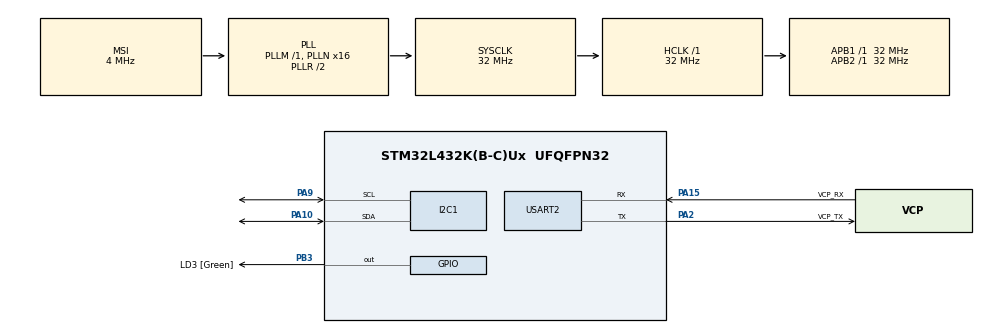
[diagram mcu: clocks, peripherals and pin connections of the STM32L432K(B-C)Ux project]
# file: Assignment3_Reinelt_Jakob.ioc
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FREERTOS.Tasks01=defaultTask,24,128,StartDefaultTask,Default,NULL,Dynamic,NULL,NULL
FREERTOS.configTOTAL_HEAP_SIZE=10000
FREERTOS.configUSE_NEWLIB_REENTRANT=1
I2C1.Timing=0x00B07CB4
Mcu.Family=STM32L4
Mcu.Name=STM32L432K(B-C)Ux
Mcu.Package=UFQFPN32
NVIC.PriorityGroup=NVIC_PRIORITYGROUP_4
NVIC.TIM6_DAC_IRQn=true\:15\:0\:false\:false\:true\:false\:false\:true\:true
NVIC.TimeBase=TIM6_DAC_IRQn
NVIC.TimeBaseIP=TIM6
PA0.GPIO_Label=MCO [High speed clock in]
PA0.Mode=HSE-External-Clock-Source-for-LittleOrca
PA0.Signal=RCC_CK_IN
PA10.Mode=I2C
PA10.Signal=I2C1_SDA
PA13\ (JTMS-SWDIO).GPIO_Label=SWDIO
PA13\ (JTMS-SWDIO).Mode=Serial_Wire
PA13\ (JTMS-SWDIO).Signal=SYS_JTMS-SWDIO
PA14\ (JTCK-SWCLK).GPIO_Label=SWCLK
PA14\ (JTCK-SWCLK).Mode=Serial_Wire
PA14\ (JTCK-SWCLK).Signal=SYS_JTCK-SWCLK
PA15\ (JTDI).GPIO_Label=VCP_RX
PA15\ (JTDI).Mode=Asynchronous
PA15\ (JTDI).Signal=USART2_RX
PA2.GPIO_Label=VCP_TX
PA2.Mode=Asynchronous
PA2.Signal=USART2_TX
PA9.Mode=I2C
PA9.Signal=I2C1_SCL
PB3\ (JTDO-TRACESWO).GPIO_Label=LD3 [Green]
PB3\ (JTDO-TRACESWO).Signal=GPIO_Output
PC14-OSC32_IN\ (PC14).Mode=LSE-External-Oscillator
PC14-OSC32_IN\ (PC14).Signal=RCC_OSC32_IN
PC15-OSC32_OUT\ (PC15).Mode=LSE-External-Oscillator
PC15-OSC32_OUT\ (PC15).Signal=RCC_OSC32_OUT
ProjectManager.HeapSize=0x200
ProjectManager.StackSize=0x400
ProjectManager.TargetToolchain=STM32CubeIDE
RCC.AHBFreq_Value=32000000
RCC.APB1Freq_Value=32000000
RCC.APB1TimFreq_Value=32000000
RCC.APB2Freq_Value=32000000
RCC.APB2TimFreq_Value=32000000
RCC.CortexFreq_Value=32000000
RCC.HCLKFreq_Value=32000000
RCC.HSE_VALUE=8000000
RCC.HSI16_VALUE=16000000
RCC.HSI48_VALUE=48000000
RCC.HSI_VALUE=16000000
RCC.MSI_VALUE=4000000
RCC.PLLMUL=RCC_PLLMUL_4
RCC.PLLN=16
RCC.SYSCLKFreq_VALUE=32000000
RCC.SYSCLKSource=RCC_SYSCLKSOURCE_PLLCLK
RCC.VCOOutputFreq_Value=64000000
USART2.VirtualMode-Asynchronous=VM_ASYNC
VP_FREERTOS_VS_CMSIS_V2.Mode=CMSIS_V2
VP_SYS_VS_tim6.Mode=TIM6
board=NUCLEO-L432KC

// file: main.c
/* USER CODE BEGIN Header */
/**
  ******************************************************************************
  * @file           : main.c
  * @brief          : Main program body
  ******************************************************************************
  * @attention
  *
  * Copyright (c) 2025 STMicroelectronics.
  * All rights reserved.
  *
  * This software is licensed under terms that can be found in the LICENSE file
  * in the root directory of this software component.
  * If no LICENSE file comes with this software, it is provided AS-IS.
  *
  ******************************************************************************
  */
/* USER CODE END Header */
#include "main.h"
#include "cmsis_os.h"

/* USER CODE BEGIN Includes */
#include "TMP117_STM32_HAL_lib.h"
/* USER CODE END Includes */

/* USER CODE BEGIN PTD */
typedef struct {
    int16_t temp_integer;
    int16_t temp_fraction;
} SensorData_t;

typedef struct {
    int16_t temp_integer;
    int16_t temp_fraction;
    uint8_t valid;  // 1 = gültig, 0 = ungültig
} ValidatedSensorData_t;
/* USER CODE END PTD */

/* USER CODE BEGIN PD */
/** @brief Default I²C address of the TMP117 sensor */
#define TMP117_DEFAULT_ADD 0x48

/** @brief Register address for the temperature register */
#define TMP117_REG_ADD 0x00
/* USER CODE END PD */

I2C_HandleTypeDef hi2c1;

UART_HandleTypeDef huart2;

/* Definitions for defaultTask */
osThreadId_t defaultTaskHandle;
const osThreadAttr_t defaultTask_attributes = {
  .name = "defaultTask",
  .stack_size = 128 * 4,
  .priority = (osPriority_t) osPriorityNormal,
};
/* USER CODE BEGIN PV */
static SensorData_t last_valid_temp = {0, 0};

/* Definitions for uartInputTask */
osThreadId_t uartInputTaskHandle;
const osThreadAttr_t uartInputTask_attributes = {
  .name = "uartInputTask",
  .stack_size = 256 * 4,
  .priority = (osPriority_t) osPriorityBelowNormal,
};

/* Definitions for controllerTask */
osThreadId_t controllerTaskHandle;
const osThreadAttr_t controllerTask_attributes = {
  .name = "controllerTask",
  .stack_size = 256 * 4,
  .priority = (osPriority_t) osPriorityNormal,
};

/* Definitions for measurementTask */
osThreadId_t measurementTaskHandle;
const osThreadAttr_t measurementTask_attributes = {
  .name = "measurementTask",
  .stack_size = 256 * 4,
  .priority = (osPriority_t) osPriorityBelowNormal,
};

/* Definitions for uartOutputTask */
osThreadId_t uartOutputTaskHandle;
const osThreadAttr_t uartOutputTask_attributes = {
  .name = "uartOutputTask",
  .stack_size = 256 * 4,
  .priority = (osPriority_t) osPriorityLow,
};

/* Definitions for watchdog_timer */
osTimerId_t watchdog_timerHandle;
const osTimerAttr_t watchdog_timer_attributes = {
		.name = "watchdog_timer"
};

/* Definitions for measurement_timer */
osTimerId_t measurement_timerHandle;
const osTimerAttr_t measurement_timer_attributes = {
		.name = "measurement_timer"
};

/* Definitions for meas_sem */
osSemaphoreId_t meas_semHandle;
const osSemaphoreAttr_t meas_sem_attributes = {
		.name = "meas_sem"
};

/* Definitions for dataQueue */
osMessageQueueId_t dataQueueHandle;
const osMessageQueueAttr_t dataQueue_attributes = {
		.name = "dataQueue"
};

/* Definitions for dataQueueOutput */
osMessageQueueId_t dataQueueOutputHandle;
const osMessageQueueAttr_t dataQueueOutput_attributes = {
  .name = "dataQueueOutput"
};

/* Definitions for intervalQueue */
osMessageQueueId_t intervalQueueHandle;
const osMessageQueueAttr_t intervalQueue_attributes = {
  .name = "intervalQueue"
};

osMessageQueueId_t sensorOutputQueueHandle;
const osMessageQueueAttr_t sensorOutputQueue_attributes = {
    .name = "sensorOutputQueue"
};
/* USER CODE END PV */

void SystemClock_Config(void);
static void MX_GPIO_Init(void);
static void MX_USART2_UART_Init(void);
static void MX_I2C1_Init(void);
void StartDefaultTask(void *argument);

/* USER CODE BEGIN 0 */
/* Print given character on UART 2. Translate '\n' to "\r\n" on the fly. */
/*int __io_putchar(int ch) {
	int ret;
	while((ret=HAL_UART_GetState(&huart2)) != HAL_UART_STATE_READY)
		;
	if (ch == '\n') {
		static uint8_t buf[2] = {'\r', '\n'};
		HAL_UART_Transmit_IT(&huart2, buf, sizeof(buf));
	} else {
		static char buf;
		buf = ch;
		HAL_UART_Transmit_IT(&huart2, (uint8_t *)&buf, 1);
	}
	return ch;
}*/
int __io_putchar(int ch) {
    if (ch == '\n') {
        uint8_t buf[2] = {'\r', '\n'};
        HAL_UART_Transmit(&huart2, buf, 2, HAL_MAX_DELAY);
    } else {
        uint8_t buf = ch;
        HAL_UART_Transmit(&huart2, &buf, 1, HAL_MAX_DELAY);
    }
    return ch;
}

int _write(int file, char *ptr, int len)
{
	for (int DataIdx = 0; DataIdx < len; DataIdx++) {
		__io_putchar(*ptr++);
	}
	return len;
}

void Controller_Task(void *argument)
{
    SensorData_t current_temp;
    ValidatedSensorData_t validated;
    int32_t delta;
    uint32_t flags;
    uint8_t new_interval;

    for (;;)
    {
        // Prüfe, ob ein neues Intervall vom Input Task kam
        if (osMessageQueueGet(intervalQueueHandle, &new_interval, NULL, 0) == osOK)
        {
            osTimerStop(measurement_timerHandle);
            osTimerStart(measurement_timerHandle, new_interval * 1000);

            osTimerStop(watchdog_timerHandle);
            osTimerStart(watchdog_timerHandle, (new_interval + 2) * 1000);

            printf("Controller: Neues Intervall übernommen: %d Sekunden\r\n", new_interval);
        }

        printf("Start wait\r\n");
        flags = osThreadFlagsWait(0x01, osFlagsWaitAny, osWaitForever);
        printf("Stop wait\r\n");

        if (flags & 0x01)
        {
            osSemaphoreRelease(meas_semHandle);

            if (osMessageQueueGet(dataQueueHandle, &current_temp, NULL, 1000) == osOK)
            {
                // Temperaturdifferenz prüfen
                delta = ((current_temp.temp_integer * 100 + current_temp.temp_fraction) -
                         (last_valid_temp.temp_integer * 100 + last_valid_temp.temp_fraction));

                if (delta < 0) delta = -delta;

                validated.temp_integer = current_temp.temp_integer;
                validated.temp_fraction = current_temp.temp_fraction;
                validated.valid = (delta <= 1000) ? 1 : 0;

                if (validated.valid)
                {
                    last_valid_temp = current_temp;
                    osTimerStart(watchdog_timerHandle, (new_interval + 2) * 1000);
                    printf("Controller: Gültige Messung – sende an Output\r\n");
                }
                else
                {
                    printf("Controller: Ungültige Messung (>10°C) – sende trotzdem\r\n");
                }

                // Validiertes Ergebnis an Output Queue senden
                osMessageQueuePut(sensorOutputQueueHandle, &validated, 0, 0);
            }
            else
            {
                printf("Controller: Fehler – keine Messdaten erhalten\r\n");
            }
        }
    }
}
/*void Controller_Task(void *argument)
{
	SensorData_t current_temp;
	    int32_t delta; // Temperaturdifferenz *100 skaliert
	    uint32_t flags;
	    uint8_t new_interval;

	    for (;;)
	    {
	        // Prüfen, ob ein neuer Intervall vom UART Input Task vorliegt
	        if (osMessageQueueGet(intervalQueueHandle, &new_interval, NULL, 0) == osOK)
	        {
	            // Timer mit neuem Intervall setzen
	            osTimerStop(measurement_timerHandle);
	            osTimerStart(measurement_timerHandle, new_interval * 1000);

	            osTimerStop(watchdog_timerHandle);
	            osTimerStart(watchdog_timerHandle, (new_interval + 2) * 1000);

	            printf("Controller: Neues Intervall übernommen: %d Sekunden\r\n", new_interval);
	        }
	        printf("Start wait\r\n");
	        // Auf Timer-Flag vom Measurement Timer warten
	        flags = osThreadFlagsWait(0x01, osFlagsWaitAny, osWaitForever);
	        printf("Stop wait\r\n");
	        if (flags & 0x01)
	        {
	            // Messe starten (Mess-Task wird durch Semaphore getriggert)
	            osSemaphoreRelease(meas_semHandle);

	            // Auf neue Messdaten von Measurement_Task warten
	            if (osMessageQueueGet(dataQueueHandle, &current_temp, NULL, 1000) == osOK)
	            {
	                // Temperaturdifferenz berechnen
	                delta = ((current_temp.temp_integer * 100 + current_temp.temp_fraction) -
	                         (last_valid_temp.temp_integer * 100 + last_valid_temp.temp_fraction));

	                if (delta < 0) delta = -delta;
	                delta = 500;
	                if (delta <= 1000) // Differenz <= 10.00 °C
	                {
	                	printf("Output freigeben\r\n");
	                    // Gültige Messung: letzte Temperatur aktualisieren
	                    last_valid_temp = current_temp;

	                    // Watchdog zurücksetzen
	                    osTimerStart(watchdog_timerHandle, (new_interval + 2) * 1000);
	                    printf("Controller: Gültige Messung – Output freigeben\r\n");
	                    // Output freigeben – z. B. mit Flag 0x02
	                    osThreadFlagsSet(uartOutputTaskHandle, 0x02);
	                }
	                else
	                {
	                    printf("Ungültige Messung: Temperaturänderung zu groß (>10°C)\r\n");
	                }
	            }
	            else
	            {
	                printf("Fehler: Keine Messdaten empfangen\r\n");
	            }
	        }
	    }
}*/
void UART_Input_Task(void *argument)
{
	char input_buffer[10];
	    uint8_t ch;
	    uint8_t idx = 0;
	    int user_interval = 0;

	    printf("Usage: Geben Sie das Messintervall in Sekunden ein (1–10)\r\n");

	    for (;;)
	    {
	        idx = 0;
	        memset(input_buffer, 0, sizeof(input_buffer));
	        printf("Intervall (1-10): ");

	        // Zeichenweise lesen, bis \r (Enter)
	        while (1)
	        {
	            HAL_UART_Receive(&huart2, &ch, 1, HAL_MAX_DELAY); // blockiert Task
	            HAL_UART_Transmit(&huart2, &ch, 1, HAL_MAX_DELAY); // Echo

	            if (ch == '\r' || ch == '\n') break;

	            if (idx < sizeof(input_buffer) - 1)
	                input_buffer[idx++] = ch;
	        }

	        user_interval = atoi((char *)input_buffer);

	        if (user_interval >= 1 && user_interval <= 10)
	        {
	        	uint8_t interval = (uint8_t)user_interval;
	        	if (osMessageQueuePut(intervalQueueHandle, &interval, 0, 0) == osOK) {
	        	    printf("\r\nIntervall erfolgreich gesendet: %d Sekunden\r\n", interval);
	        	} else {
	        	    printf("\r\nFehler: Intervall konnte nicht gesendet werden.\r\n");
	        	}
	        }
	        else
	        {
	            printf("\r\nFehler: Ungültiger Wert. Bitte geben Sie eine Zahl von 1 bis 10 ein.\r\n");
	        }

	        osDelay(100); // kleine Entlastung
	    }
}
void UART_Output_Task(void *argument)
{
	SensorData_t output_temp;
	    uint32_t flags;
	    ValidatedSensorData_t msg;

	    for (;;)
	    {
	        if (osMessageQueueGet(sensorOutputQueueHandle, &msg, NULL, osWaitForever) == osOK)
	        {
	            if (msg.valid)
	            {
	                printf("Temperatur: %d.%02d °C\r\n", msg.temp_integer, msg.temp_fraction);
	            }
	            else
	            {
	                printf("Info: Ungültige Messung (Differenz > 10°C)\r\n");
	            }
	        }
	    }

	    /*for (;;)
	    {
	    	printf("UART Output Task: Warte auf Queue-Daten\r\n");
	        // Warten auf Daten in der Queue (z. B. max 1 Sekunde warten)
	        if (osMessageQueueGet(dataQueueOutputHandle, &output_temp, NULL, osWaitForever) == osOK)
	        {
	            // Jetzt auf Bestätigungs-Flag vom Controller Task warten
	            flags = osThreadFlagsWait(0x02, osFlagsWaitAny, 1000); // Timeout optional

	            if (flags & 0x02)
	            {
	                // Alles bereit: Temperatur ausgeben
	                printf("Temperatur: %d.%02d °C\r\n",
	                       output_temp.temp_integer,
	                       output_temp.temp_fraction);
	            }
	            else
	            {
	                // Kein gültiges Flag empfangen – ignoriere Messung
	                printf("Info: Messwert ohne Freigabe erhalten – verworfen.\r\n");
	            }
	        }
	    }*/
}
void Measurement_Task(void *argument)
{
    uint8_t raw_temp[2];
    int16_t temp_int = 0, temp_frac = 0;
    SensorData_t measurement;

    for (;;)
    {
    	printf("Measurement Task: Warte auf Semaphore...\r\n");
        // Warte auf das Startsignal vom Controller Task
        osSemaphoreAcquire(meas_semHandle, osWaitForever);
        printf("Measurement Task: Semaphore erhalten – lese Sensor\r\n");

        // Temperatur vom Sensor auslesen
        if (TMP117_read_raw_temp_value(hi2c1, TMP117_DEFAULT_ADD, raw_temp) == HAL_OK)
        {
            TMP117_conv_raw_temp_celsius(raw_temp, &temp_int, &temp_frac);

            measurement.temp_integer = temp_int;
            measurement.temp_fraction = temp_frac;

            // Sende Messwert an die Queue
            osStatus_t status1 = osMessageQueuePut(dataQueueHandle, &measurement, 0, 0);
            if (status1 != osOK) {
                printf("Fehler: dataQueueHandle voll (%d)\r\n", status1);
            }

            osStatus_t status2 = osMessageQueuePut(dataQueueOutputHandle, &measurement, 0, 0);
            if (status2 != osOK) {
                printf("Fehler: dataQueueOutputHandle voll (%d)\r\n", status2);
            }
            printf("Measurement Task: Messwert an Queue geschickt\r\n");
        }
        else
        {
            printf("Sensorlesefehler: TMP117 konnte nicht gelesen werden.\r\n");
        }

        // Optional: kleine Pause (nicht nötig, aber nett zur Lastreduktion)
        osDelay(10);
    }
}
void MeasurementTimerCallback(void *argument)
{
	printf("Timer fired\r\n");
    // Signal an Controller Task senden: neue Messung erforderlich
    osThreadFlagsSet(controllerTaskHandle, 0x01); // z. B. Flag 0x01 für Measurement-Event
}
void WatchdogTimerCallback(void *argument)
{
    printf("Fehler: Watchdog ausgelöst – keine gültige Messung empfangen!\r\n");

    // Rote LED einschalten (Beispiel)
    HAL_GPIO_WritePin(GPIOB, GPIO_PIN_14, GPIO_PIN_SET); // PB14 = rote LED?

    // Fehlerbehandlungsroutine aufrufen
    Error_Handler();
}
/* USER CODE END 0 */

int main(void)
{

  /* MCU Configuration--------------------------------------------------------*/

  /* Reset of all peripherals, Initializes the Flash interface and the Systick. */
  HAL_Init();

  /* Configure the system clock */
  SystemClock_Config();

  /* Initialize all configured peripherals */
  MX_GPIO_Init();
  MX_USART2_UART_Init();
  MX_I2C1_Init();

  /* Init scheduler */
  osKernelInitialize();

  /* USER CODE BEGIN RTOS_SEMAPHORES */
  /* add semaphores, ... */
  /* creation of led_bin_sem */
  	meas_semHandle = osSemaphoreNew(1, 0, &meas_sem_attributes);
  	if (meas_semHandle == NULL) {
  		Error_Handler();
  		}
  /* USER CODE END RTOS_SEMAPHORES */

  /* USER CODE BEGIN RTOS_TIMERS */
  /* start timers, add new ones, ... */
  	/* creation of led_timer */
  	/* Create the watchdog timer */
  	/* Create the measurement timer */
  	measurement_timerHandle = osTimerNew(
  	    MeasurementTimerCallback,      // Callback-Funktion
  	    osTimerPeriodic,               // Typ: Periodisch
  	    NULL,                          // Argument
  	    &measurement_timer_attributes  // Attribute
  	);
  	if (measurement_timerHandle == NULL) {
  		Error_Handler();
  		}
  	watchdog_timerHandle = osTimerNew(
  	  	    WatchdogTimerCallback,         // Callback-Funktion
  	  	    osTimerOnce,                   // Typ: Einmalig
  	  	    NULL,                          // Argument (kann z. B. ein TaskHandle sein)
  	  	    &watchdog_timer_attributes     // Attribute
  	  	);
  	if (watchdog_timerHandle == NULL) {
  		Error_Handler();
  		}
  	// Starte Timer initial mit 3 Sekunden
  	osTimerStart(measurement_timerHandle, 3000);
  	osTimerStart(watchdog_timerHandle, 5000); // Intervall + 2 Sek
  /* USER CODE END RTOS_TIMERS */

  /* USER CODE BEGIN RTOS_QUEUES */
  /* add queues, ... */
  		/* creation of ledcolorQueue */
  	dataQueueHandle = osMessageQueueNew(
  	    10,                             // Anzahl an Elementen
  	    sizeof(SensorData_t),         // Größe eines Elements (dein Sensor-Daten-Struct)
  	    &dataQueue_attributes          // Attribute
  	);
  	if (dataQueueHandle == NULL) {
  		Error_Handler();
  		}

  	dataQueueOutputHandle = osMessageQueueNew(10, sizeof(SensorData_t), &dataQueueOutput_attributes);
  	if (dataQueueOutputHandle == NULL) {
  	    Error_Handler();
  	}

  	intervalQueueHandle = osMessageQueueNew(3, sizeof(uint8_t), &intervalQueue_attributes);
  	if (intervalQueueHandle == NULL) {
  	    Error_Handler();
  	}

  	sensorOutputQueueHandle = osMessageQueueNew(5, sizeof(ValidatedSensorData_t), &sensorOutputQueue_attributes);
  	if (sensorOutputQueueHandle == NULL) {
  	    Error_Handler();
  	}

  	uint8_t init_interval = 3;
  	osMessageQueuePut(intervalQueueHandle, &init_interval, 0, 0);
  /* USER CODE END RTOS_QUEUES */

  /* Create the thread(s) */
  /* creation of defaultTask */
  defaultTaskHandle = osThreadNew(StartDefaultTask, NULL, &defaultTask_attributes);

  /* USER CODE BEGIN RTOS_THREADS */
  /* add threads, ... */
  uartInputTaskHandle = osThreadNew(UART_Input_Task, NULL, &uartInputTask_attributes);
  controllerTaskHandle = osThreadNew(Controller_Task, NULL, &controllerTask_attributes);
  measurementTaskHandle = osThreadNew(Measurement_Task, NULL, &measurementTask_attributes);
  uartOutputTaskHandle = osThreadNew(UART_Output_Task, NULL, &uartOutputTask_attributes);
  /* USER CODE END RTOS_THREADS */

  /* Start scheduler */
  osKernelStart();

  /* We should never get here as control is now taken by the scheduler */

  /* Infinite loop */
  while (1)
  {

  }
}

void SystemClock_Config(void)
{
  RCC_OscInitTypeDef RCC_OscInitStruct = {0};
  RCC_ClkInitTypeDef RCC_ClkInitStruct = {0};

  /** Configure the main internal regulator output voltage
  */
  if (HAL_PWREx_ControlVoltageScaling(PWR_REGULATOR_VOLTAGE_SCALE1) != HAL_OK)
  {
    Error_Handler();
  }

  /** Configure LSE Drive Capability
  */
  HAL_PWR_EnableBkUpAccess();
  __HAL_RCC_LSEDRIVE_CONFIG(RCC_LSEDRIVE_LOW);

  /** Initializes the RCC Oscillators according to the specified parameters
  * in the RCC_OscInitTypeDef structure.
  */
  RCC_OscInitStruct.OscillatorType = RCC_OSCILLATORTYPE_LSE|RCC_OSCILLATORTYPE_MSI;
  RCC_OscInitStruct.LSEState = RCC_LSE_ON;
  RCC_OscInitStruct.MSIState = RCC_MSI_ON;
  RCC_OscInitStruct.MSICalibrationValue = 0;
  RCC_OscInitStruct.MSIClockRange = RCC_MSIRANGE_6;
  RCC_OscInitStruct.PLL.PLLState = RCC_PLL_ON;
  RCC_OscInitStruct.PLL.PLLSource = RCC_PLLSOURCE_MSI;
  RCC_OscInitStruct.PLL.PLLM = 1;
  RCC_OscInitStruct.PLL.PLLN = 16;
  RCC_OscInitStruct.PLL.PLLP = RCC_PLLP_DIV7;
  RCC_OscInitStruct.PLL.PLLQ = RCC_PLLQ_DIV2;
  RCC_OscInitStruct.PLL.PLLR = RCC_PLLR_DIV2;
  if (HAL_RCC_OscConfig(&RCC_OscInitStruct) != HAL_OK)
  {
    Error_Handler();
  }

  /** Initializes the CPU, AHB and APB buses clocks
  */
  RCC_ClkInitStruct.ClockType = RCC_CLOCKTYPE_HCLK|RCC_CLOCKTYPE_SYSCLK
                              |RCC_CLOCKTYPE_PCLK1|RCC_CLOCKTYPE_PCLK2;
  RCC_ClkInitStruct.SYSCLKSource = RCC_SYSCLKSOURCE_PLLCLK;
  RCC_ClkInitStruct.AHBCLKDivider = RCC_SYSCLK_DIV1;
  RCC_ClkInitStruct.APB1CLKDivider = RCC_HCLK_DIV1;
  RCC_ClkInitStruct.APB2CLKDivider = RCC_HCLK_DIV1;

  if (HAL_RCC_ClockConfig(&RCC_ClkInitStruct, FLASH_LATENCY_1) != HAL_OK)
  {
    Error_Handler();
  }

  /** Enable MSI Auto calibration
  */
  HAL_RCCEx_EnableMSIPLLMode();
}

static void MX_I2C1_Init(void)
{

  hi2c1.Instance = I2C1;
  hi2c1.Init.Timing = 0x00B07CB4;
  hi2c1.Init.OwnAddress1 = 0;
  hi2c1.Init.AddressingMode = I2C_ADDRESSINGMODE_7BIT;
  hi2c1.Init.DualAddressMode = I2C_DUALADDRESS_DISABLE;
  hi2c1.Init.OwnAddress2 = 0;
  hi2c1.Init.OwnAddress2Masks = I2C_OA2_NOMASK;
  hi2c1.Init.GeneralCallMode = I2C_GENERALCALL_DISABLE;
  hi2c1.Init.NoStretchMode = I2C_NOSTRETCH_DISABLE;
  if (HAL_I2C_Init(&hi2c1) != HAL_OK)
  {
    Error_Handler();
  }

  /** Configure Analogue filter
  */
  if (HAL_I2CEx_ConfigAnalogFilter(&hi2c1, I2C_ANALOGFILTER_ENABLE) != HAL_OK)
  {
    Error_Handler();
  }

  /** Configure Digital filter
  */
  if (HAL_I2CEx_ConfigDigitalFilter(&hi2c1, 0) != HAL_OK)
  {
    Error_Handler();
  }

}

static void MX_USART2_UART_Init(void)
{

  huart2.Instance = USART2;
  huart2.Init.BaudRate = 115200;
  huart2.Init.WordLength = UART_WORDLENGTH_8B;
  huart2.Init.StopBits = UART_STOPBITS_1;
  huart2.Init.Parity = UART_PARITY_NONE;
  huart2.Init.Mode = UART_MODE_TX_RX;
  huart2.Init.HwFlowCtl = UART_HWCONTROL_NONE;
  huart2.Init.OverSampling = UART_OVERSAMPLING_16;
  huart2.Init.OneBitSampling = UART_ONE_BIT_SAMPLE_DISABLE;
  huart2.AdvancedInit.AdvFeatureInit = UART_ADVFEATURE_NO_INIT;
  if (HAL_UART_Init(&huart2) != HAL_OK)
  {
    Error_Handler();
  }

}

static void MX_GPIO_Init(void)
{
  GPIO_InitTypeDef GPIO_InitStruct = {0};

  /* GPIO Ports Clock Enable */
  __HAL_RCC_GPIOC_CLK_ENABLE();
  __HAL_RCC_GPIOA_CLK_ENABLE();
  __HAL_RCC_GPIOB_CLK_ENABLE();

  /*Configure GPIO pin Output Level */
  HAL_GPIO_WritePin(LD3_GPIO_Port, LD3_Pin, GPIO_PIN_RESET);

  /*Configure GPIO pin : LD3_Pin */
  GPIO_InitStruct.Pin = LD3_Pin;
  GPIO_InitStruct.Mode = GPIO_MODE_OUTPUT_PP;
  GPIO_InitStruct.Pull = GPIO_NOPULL;
  GPIO_InitStruct.Speed = GPIO_SPEED_FREQ_LOW;
  HAL_GPIO_Init(LD3_GPIO_Port, &GPIO_InitStruct);

}

void StartDefaultTask(void *argument)
{
  for(;;)
  {
    osDelay(1);
  }
}

void HAL_TIM_PeriodElapsedCallback(TIM_HandleTypeDef *htim)
{
  if (htim->Instance == TIM6)
  {
    HAL_IncTick();
  }
}

void Error_Handler(void)
{
  __disable_irq();
  while (1)
  {
  }
}
